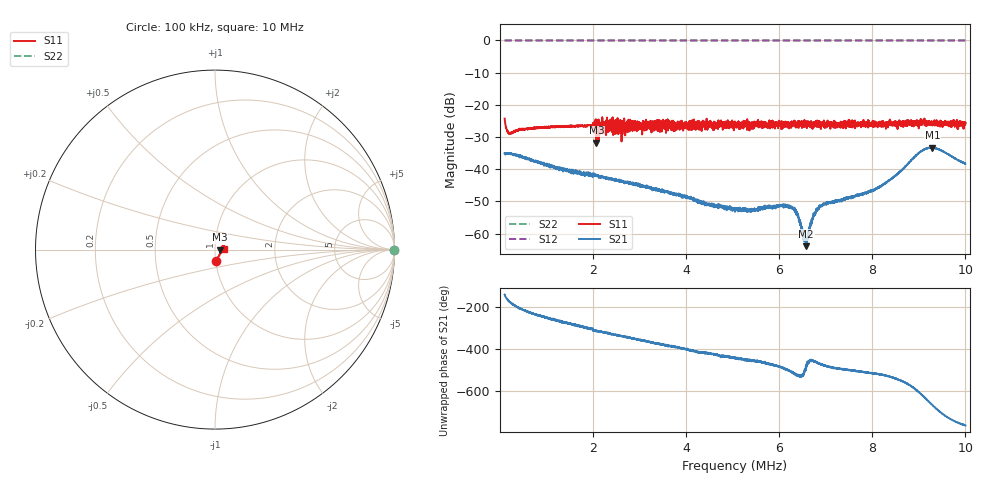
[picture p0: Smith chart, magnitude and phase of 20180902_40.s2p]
! Anritsu VNA Master:  Model: MS2026C/19
! SN:  1815009
! /card0/usr/20180902_40.s2p
! Existing Calibration Information:
! TYPE:  Current Settings,  Active Cal Settings
! TIME:  09/02/2018 11:59:18 PM,  09/02/2018 11:58:48 AM
! INTERNAL TEMP:  45.8 C,  48.8 C
! # POINTS:  4001,  4001
! START FREQ:  100.000 kHz,  100.000 kHz
! STOP FREQ:  10.000 MHz,  10.000 MHz
! SOURCE POWER:  Low,  Low
! IFBW:  500 Hz,  500 Hz
! AVG FACTOR:  5 ,  1
! REF PLANE 1:  0 mm,  0 mm
! REF PLANE 2:  0 mm,  0 mm
! CAL TYPE:  1P2P S11,S21,  1P2P S11,S21
! CAL METHOD:  SOLT,  SOLT
! CAL LINE TYPE:  Coax,  Coax
! DUT PORT 1:  N-Conn(M),  N-Conn(M)
! DUT PORT 2:  N-Conn(M),  N-Conn(M)
! CAL STATUS:  OK: Accuracy High,  --
# GHZ S RI R 50.0
! FREQ.GHZ  S11RE  S11IM  S21RE  S21IM  S12RE  S12IM  S22RE  S22IM
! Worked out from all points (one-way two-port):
!   4001 points, 100 kHz to 10 MHz, reference 50 ohm
!   highest |S21| = -33.27 dB at 9.292 MHz (marker M1); lowest = -63.9 dB at 6.577 MHz (marker M2)
!   lowest |S11| = -31.8 dB at 2.073 MHz (marker M3), VSWR 1.05, Z = 52.6 - j0.116 ohm
!   |S11| at or under -10 dB: start of sweep to end of sweep
!   |S22| runs from 0.0 to 0.0 dB; largest |S21 - S12| = 1
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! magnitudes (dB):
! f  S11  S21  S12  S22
! 100 kHz  -24.3  -35.1  0.0  0.0
! 169.3 kHz  -28.2  -35.1  0.0  0.0
! 221.3 kHz  -28.7  -35.2  0.0  0.0
! 463.8 kHz  -27.4  -36.0  0.0  0.0
! 1.751 MHz  -26.5  -41.4  0.0  0.0
! 2.073 MHz  -31.8  -41.8  0.0  0.0
! 3.402 MHz  -28.0  -46.4  0.0  0.0
! 5.05 MHz  -26.0  -53.2  0.0  0.0
! 5.453 MHz  -26.2  -52.6  0.0  0.0
! 6.082 MHz  -26.7  -50.8  0.0  0.0
! 6.258 MHz  -27.1  -51.7  0.0  0.0
! 6.372 MHz  -26.2  -53.4  0.0  0.0
! 6.528 MHz  -26.5  -60.8  0.0  0.0
! 6.577 MHz  -26.0  -63.9  0.0  0.0
! 6.701 MHz  -26.5  -55.8  0.0  0.0
! 6.782 MHz  -26.4  -53.4  0.0  0.0
! 6.921 MHz  -25.9  -51.3  0.0  0.0
! 7.904 MHz  -25.8  -47.0  0.0  0.0
! 8.352 MHz  -25.6  -43.5  0.0  0.0
! 9.012 MHz  -25.3  -34.8  0.0  0.0
! 9.292 MHz  -25.7  -33.3  0.0  0.0
! 10 MHz  -25.6  -38.3  0.0  0.0
